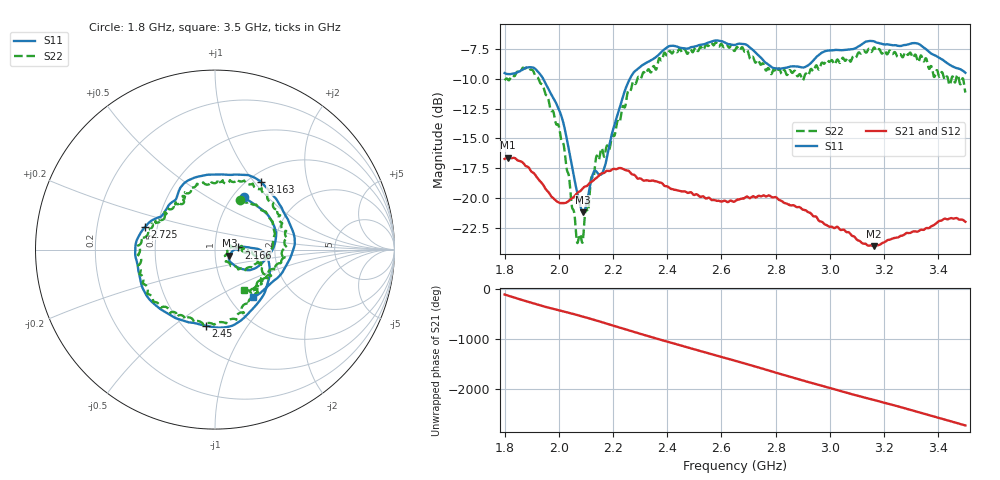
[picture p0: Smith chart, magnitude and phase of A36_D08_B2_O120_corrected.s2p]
! Created with skrf 1.9.0 (http://scikit-rf.org).
# Hz S RI R 50.0
!freq ReS11 ImS11 ReS21 ImS21 ReS12 ImS12 ReS22 ImS22
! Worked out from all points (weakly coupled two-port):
!   1601 points, 1.8 GHz to 3.5 GHz, reference 50 ohm
!   highest |S21| = -16.62 dB at 1.812 GHz (marker M1); lowest = -24.1 dB at 3.162 GHz (marker M2)
!   lowest |S11| = -21.2 dB at 2.09 GHz (marker M3), VSWR 1.19, Z = 58.6 - j4 ohm
!   |S11| at or under -10 dB: 1.943 GHz to 2.262 GHz (318.9 MHz wide, 15.2 % of centre)
!   |S22| runs from -23.8 to -6.9 dB; largest |S21 - S12| = 0.0028
!   S11 on the Smith chart (normalised r, x): 1.8 GHz: 1.13, +0.74; 2.166 GHz: 1.30, +0.03; 2.45 GHz: 0.64, -0.66; 2.725 GHz: 0.43, +0.13; 3.163 GHz: 1.15, +1.09; 3.5 GHz: 1.28, -0.76
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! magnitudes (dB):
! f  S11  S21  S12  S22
! 1.8 GHz  -9.5  -16.7  -16.7  -10.1
! 1.812 GHz  -9.6  -16.6  -16.6  -10.0
! 1.886 GHz  -9.0  -17.4  -17.4  -9.0
! 1.941 GHz  -9.9  -18.9  -18.9  -10.6
! 2.011 GHz  -13.3  -20.4  -20.4  -15.3
! 2.066 GHz  -19.3  -19.7  -19.7  -23.5
! 2.084 GHz  -21.0  -19.3  -19.3  -23.5
! 2.09 GHz  -21.2  -19.2  -19.2  -23.3
! 2.137 GHz  -17.7  -18.4  -18.4  -16.7
! 2.166 GHz  -17.6  -17.9  -17.9  -16.5
! 2.259 GHz  -10.1  -17.8  -17.8  -11.0
! 2.367 GHz  -8.0  -18.7  -18.6  -8.4
! 2.45 GHz  -7.4  -19.4  -19.4  -7.6
! 2.65 GHz  -7.1  -20.3  -20.3  -7.6
! 2.725 GHz  -7.8  -20.0  -20.0  -8.6
! 2.798 GHz  -9.1  -19.9  -19.9  -9.3
! 2.934 GHz  -8.6  -21.4  -21.4  -9.2
! 3.162 GHz  -6.8  -24.1  -24.0  -7.4
! 3.163 GHz  -6.8  -24.1  -24.0  -7.3
! 3.217 GHz  -7.1  -23.5  -23.5  -7.7
! 3.324 GHz  -7.0  -22.8  -22.8  -8.5
! 3.5 GHz  -9.5  -22.0  -22.0  -11.1
